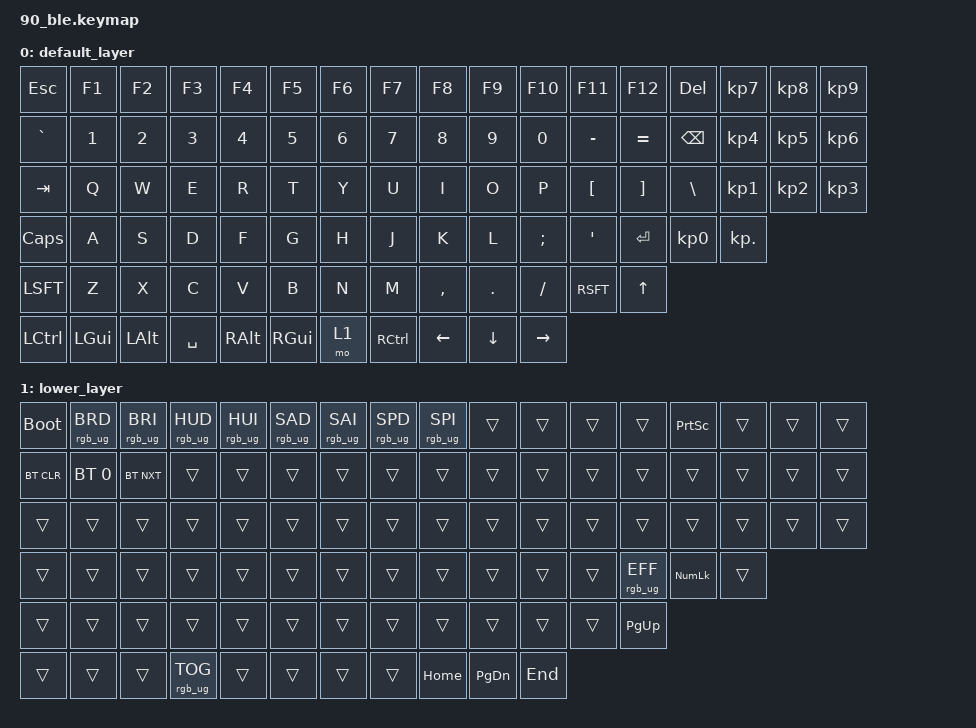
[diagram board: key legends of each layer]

#include <behaviors.dtsi>
#include <dt-bindings/zmk/keys.h>
#include <dt-bindings/zmk/bt.h>
#include <dt-bindings/zmk/outputs.h>
#include <dt-bindings/zmk/rgb.h>
#include <dt-bindings/zmk/ext_power.h>
       
/ {            
		keymap {
			compatible = "zmk,keymap";
			default_layer {
				bindings = <
		&kp ESC          &kp F1           &kp F2           &kp F3        &kp F4        &kp F5        &kp F6           &kp F7           &kp F8           &kp F9           &kp F10          &kp F11          &kp F12          &kp DEL          &kp KP_N7        &kp KP_N8        &kp KP_N9
		&kp GRAV         &kp NUM_1        &kp NUM_2        &kp NUM_3     &kp NUM_4     &kp NUM_5     &kp NUM_6        &kp NUM_7        &kp NUM_8        &kp NUM_9        &kp NUM_0        &kp MINUS        &kp EQL          &kp BSPC         &kp KP_N4        &kp KP_N5        &kp KP_N6 
		&kp TAB          &kp Q            &kp W            &kp E         &kp R         &kp T         &kp Y            &kp U            &kp I            &kp O            &kp P            &kp LBKT         &kp RBKT         &kp BSLH         &kp KP_N1        &kp KP_N2        &kp KP_N3
		&kp CAPS         &kp A            &kp S            &kp D         &kp F         &kp G         &kp H            &kp J            &kp K            &kp L            &kp SCLN         &kp QUOT         &kp RET          &kp KP_N0        &kp KP_DOT
		&kp LSFT         &kp Z            &kp X            &kp C         &kp V         &kp B         &kp N            &kp M            &kp CMMA         &kp  DOT         &kp FSLH         &kp RSFT         &kp UP
		&kp LCTRL        &kp LGUI         &kp LALT         &kp SPACE     &kp RALT      &kp RGUI      &mo 1            &kp RCTRL        &kp LEFT         &kp DOWN         &kp RIGHT 
				>;
			};
			lower_layer {
				bindings = <
		&bootloader      &rgb_ug RGB_BRD  &rgb_ug RGB_BRI  &rgb_ug RGB_HUD  &rgb_ug RGB_HUI  &rgb_ug RGB_SAD  &rgb_ug RGB_SAI  &rgb_ug RGB_SPD  &rgb_ug RGB_SPI  &trans           &trans           &trans           &trans           &kp PSCRN        &trans           &trans           &trans
		&bt BT_CLR       &bt BT_SEL 0     &bt BT_NXT       &trans           &trans           &trans           &trans           &trans           &trans           &trans           &trans           &trans           &trans           &trans           &trans           &trans           &trans       
		&trans           &trans           &trans           &trans           &trans           &trans           &trans           &trans           &trans           &trans           &trans           &trans           &trans           &trans           &trans           &trans           &trans       
		&trans           &trans           &trans           &trans           &trans           &trans           &trans           &trans           &trans           &trans           &trans           &trans           &rgb_ug RGB_EFF  &kp KP_NLCK      &trans    
		&trans           &trans           &trans           &trans           &trans           &trans           &trans           &trans           &trans           &trans           &trans           &trans           &kp PG_UP 
		&trans           &trans           &trans           &rgb_ug RGB_TOG  &trans           &trans           &trans           &trans           &kp HOME         &kp PG_DN        &kp END
				>;
			};
		};
};
